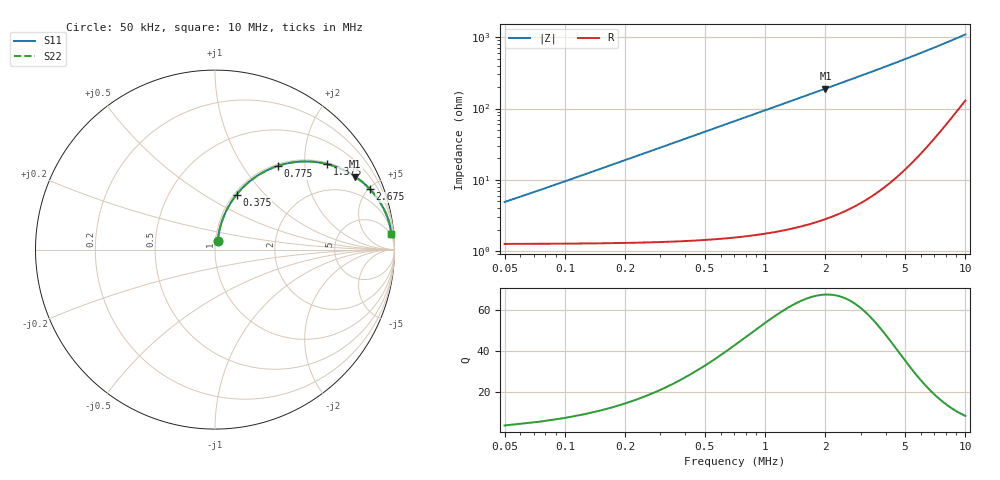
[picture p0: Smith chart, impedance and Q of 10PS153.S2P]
! Coilcraft 1008PS-153 Power Chip Inductor
! 7 October 2002
# MHZ S MA R 50
!Freq  MagS11  AngS11  MagS21  AngS21  MagS12  AngS12  MagS22  AngS22
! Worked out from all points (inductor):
!   399 points, 50 kHz to 10 MHz, reference 50 ohm
!   read as one part in series: L = 15 uH near 75 kHz
!   highest Q = 67.7 at 2 MHz (marker M1), where L = 15.1 uH
!   S11 on the Smith chart (normalised r, x): 50 kHz: 1.03, +0.09; 375 kHz: 1.03, +0.71; 775 kHz: 1.03, +1.46; 1.375 MHz: 1.04, +2.60; 2.675 MHz: 1.08, +5.11; 10 MHz: 4, +22
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0.05  0.04812 72.4  0.9865 -2.7  0.9865 -2.7  0.04812 72.4
0.075  0.07074 75.9  0.9851 -4.0  0.9851 -4.0  0.07074 75.9
0.1  0.0935 77.0  0.9832 -5.3  0.9832 -5.3  0.0935 77.0
0.125  0.1162 77.2  0.9808 -6.6  0.9808 -6.6  0.1162 77.2
0.175  0.1612 76.3  0.9744 -9.2  0.9744 -9.2  0.1612 76.3
0.225  0.2053 74.6  0.9661 -11.8  0.9661 -11.8  0.2053 74.6
0.275  0.2482 72.7  0.9561 -14.3  0.9561 -14.3  0.2482 72.7
0.375  0.3295 68.6  0.9315 -19.2  0.9315 -19.2  0.3295 68.6
0.45  0.3862 65.4  0.9097 -22.7  0.9097 -22.7  0.3862 65.4
0.55  0.4554 61.3  0.8776 -27.1  0.8776 -27.1  0.4554 61.3
0.65  0.5171 57.5  0.8432 -31.1  0.8432 -31.1  0.5171 57.5
0.775  0.5843 53.0  0.7989 -35.7  0.7989 -35.7  0.5843 53.0
1.025  0.6893 45.4  0.712 -43.6  0.712 -43.6  0.6893 45.4
1.375  0.7867 37.2  0.6048 -51.9  0.6048 -51.9  0.7867 37.2
1.725  0.8475 31.2  0.5183 -57.9  0.5183 -57.9  0.8475 31.2
2  0.8795 27.6  0.463 -61.6  0.463 -61.6  0.8795 27.6
2.675  0.9264 21.2  0.3625 -67.9  0.3625 -67.9  0.9264 21.2
3.375  0.9511 17.0  0.2926 -72.0  0.2926 -72.0  0.9511 17.0
5.025  0.9749 11.3  0.1966 -77.0  0.1966 -77.0  0.9749 11.3
6.7  0.9826 8.3  0.144 -79.0  0.144 -79.0  0.9826 8.3
8.35  0.985 6.4  0.1119 -79.1  0.1119 -79.1  0.985 6.4
10  0.9853 5.1  0.09014 -78.1  0.09014 -78.1  0.9853 5.1
